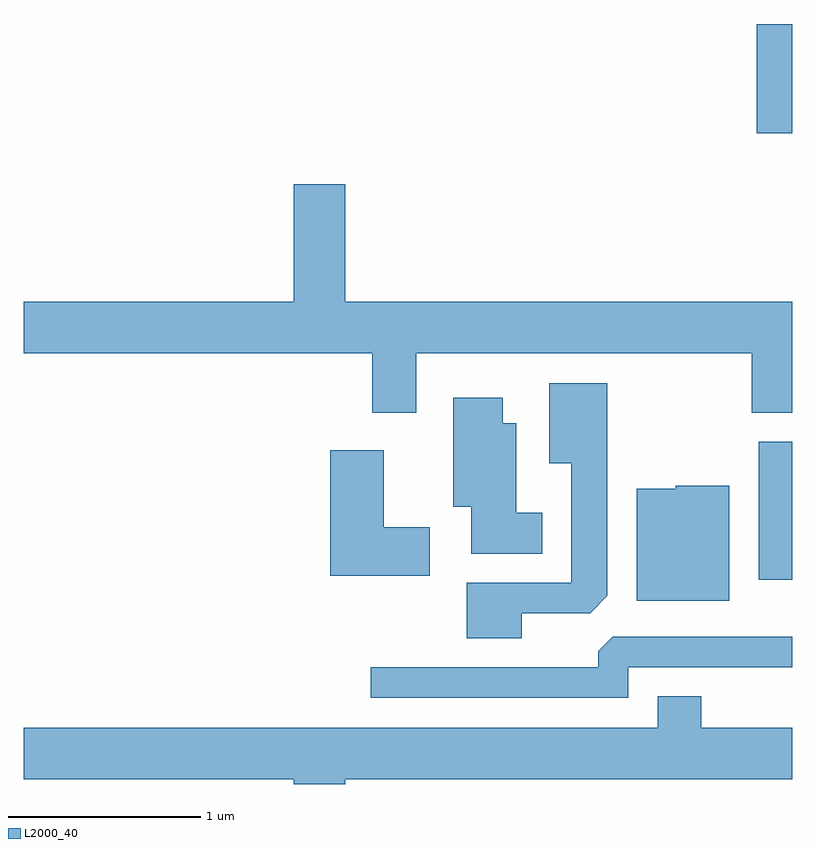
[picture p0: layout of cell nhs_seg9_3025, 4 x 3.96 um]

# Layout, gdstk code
import gdstk
lib = gdstk.Library(unit=1e-6, precision=1e-09)
def R(c, l, rs):  # rectangles x0, y0, x1, y1
    for r in rs: c.add(gdstk.rectangle(r[:2], r[2:], *l))
def P(c, l, *ps):  # polygons
    for p in ps: c.add(gdstk.Polygon(p, *l))
L2000_40 = (2000, 40)

nhs_seg9_3025 = lib.new_cell('nhs_seg9_3025')
R(nhs_seg9_3025, L2000_40, [(277.436,2019.496,277.611,2020.214), (277.426,2021.821,277.611,2022.389)])
P(nhs_seg9_3025, L2000_40, [(275.654,2020.676),(277.401,2020.676),(277.401,2020.366),(277.611,2020.366),(277.611,2020.944),(275.284,2020.944),(275.284,2021.554),(275.016,2021.554),(275.016,2020.944),(273.611,2020.944),(273.611,2020.676),(275.426,2020.676),(275.426,2020.366),(275.654,2020.366)],
  [(276.204,2019.321),(276.559,2019.321),(276.649,2019.412),(276.649,2020.519),(276.346,2020.519),(276.346,2020.101),(276.461,2020.101),(276.461,2019.479),(275.916,2019.479),(275.916,2019.191),(276.204,2019.191)],
  [(276.309,2019.844),(276.174,2019.844),(276.174,2020.309),(276.104,2020.309),(276.104,2020.444),(275.846,2020.444),(275.846,2019.876),(275.941,2019.876),(275.941,2019.631),(276.309,2019.631)],
  [(275.724,2019.769),(275.484,2019.769),(275.484,2020.169),(275.206,2020.169),(275.206,2019.516),(275.724,2019.516)],
  [(277.284,2019.984),(277.005,2019.984),(277.005,2019.969),(276.801,2019.969),(276.801,2019.386),(277.284,2019.386)],
  [(276.759,2019.041),(277.611,2019.041),(277.611,2019.199),(276.677,2019.199),(276.601,2019.124),(276.601,2019.039),(275.418,2019.039),(275.418,2018.881),(276.759,2018.881)],
  [(275.284,2018.456),(277.611,2018.456),(277.611,2018.724),(277.139,2018.724),(277.139,2018.889),(276.911,2018.889),(276.911,2018.724),(273.611,2018.724),(273.611,2018.456),(275.016,2018.456),(275.016,2018.432),(275.284,2018.432)])

lib.write_gds('nhs_seg9_3025.gds')
